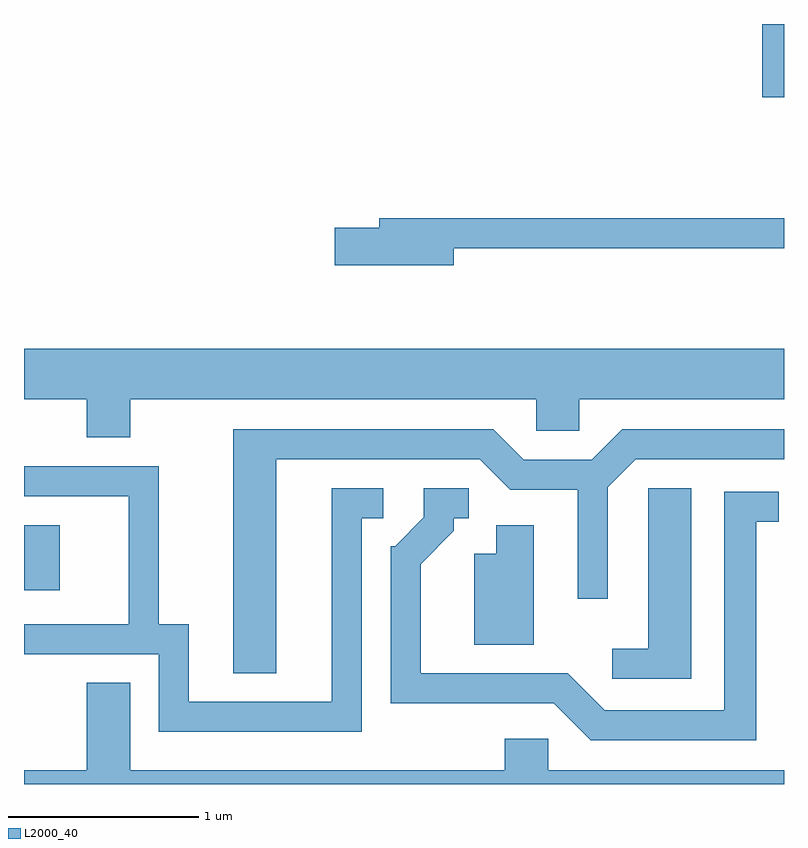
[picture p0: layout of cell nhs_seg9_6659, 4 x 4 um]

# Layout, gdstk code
import gdstk
lib = gdstk.Library(unit=1e-6, precision=1e-09)
def R(c, l, rs):  # rectangles x0, y0, x1, y1
    for r in rs: c.add(gdstk.rectangle(r[:2], r[2:], *l))
def P(c, l, *ps):  # polygons
    for p in ps: c.add(gdstk.Polygon(p, *l))
L2000_40 = (2000, 40)

nhs_seg9_6659 = lib.new_cell('nhs_seg9_6659')
R(nhs_seg9_6659, L2000_40, [(381.611,2017.451,381.799,2017.794), (385.496,2020.046,385.611,2020.432)])
P(nhs_seg9_6659, L2000_40, [(383.874,2019.251),(385.611,2019.251),(385.611,2019.409),(383.481,2019.409),(383.481,2019.359),(383.246,2019.359),(383.246,2019.161),(383.874,2019.161)],
  [(382.169,2018.456),(384.306,2018.456),(384.306,2018.291),(384.534,2018.291),(384.534,2018.456),(385.611,2018.456),(385.611,2018.724),(381.611,2018.724),(381.611,2018.456),(381.941,2018.456),(381.941,2018.256),(382.169,2018.256)],
  [(382.939,2018.141),(384.009,2018.141),(384.169,2017.981),(384.526,2017.981),(384.526,2017.408),(384.684,2017.408),(384.684,2017.994),(384.832,2018.141),(385.611,2018.141),(385.611,2018.299),(384.759,2018.299),(384.599,2018.139),(384.242,2018.139),(384.082,2018.299),(382.711,2018.299),(382.711,2017.016),(382.939,2017.016)],
  [(383.389,2017.831),(383.503,2017.831),(383.503,2017.989),(383.231,2017.989),(383.231,2016.864),(382.479,2016.864),(382.479,2017.274),(382.319,2017.274),(382.319,2018.104),(381.611,2018.104),(381.611,2017.946),(382.161,2017.946),(382.161,2017.274),(381.611,2017.274),(381.611,2017.116),(382.321,2017.116),(382.321,2016.706),(383.389,2016.706)],
  [(385.124,2017.989),(384.896,2017.989),(384.896,2017.144),(384.708,2017.144),(384.708,2016.986),(385.124,2016.986)],
  [(385.464,2017.811),(385.583,2017.811),(385.583,2017.969),(385.296,2017.969),(385.296,2016.819),(384.667,2016.819),(384.472,2017.014),(383.699,2017.014),(383.699,2017.589),(383.874,2017.764),(383.874,2017.831),(383.953,2017.831),(383.953,2017.989),(383.716,2017.989),(383.716,2017.837),(383.564,2017.684),(383.541,2017.684),(383.541,2016.856),(384.399,2016.856),(384.594,2016.661),(385.464,2016.661)],
  [(384.294,2017.794),(384.096,2017.794),(384.096,2017.644),(383.981,2017.644),(383.981,2017.166),(384.294,2017.166)],
  [(385.611,2016.504),(384.369,2016.504),(384.369,2016.669),(384.141,2016.669),(384.141,2016.504),(382.169,2016.504),(382.169,2016.964),(381.941,2016.964),(381.941,2016.504),(381.611,2016.504),(381.611,2016.432),(385.611,2016.432)])

lib.write_gds('nhs_seg9_6659.gds')
